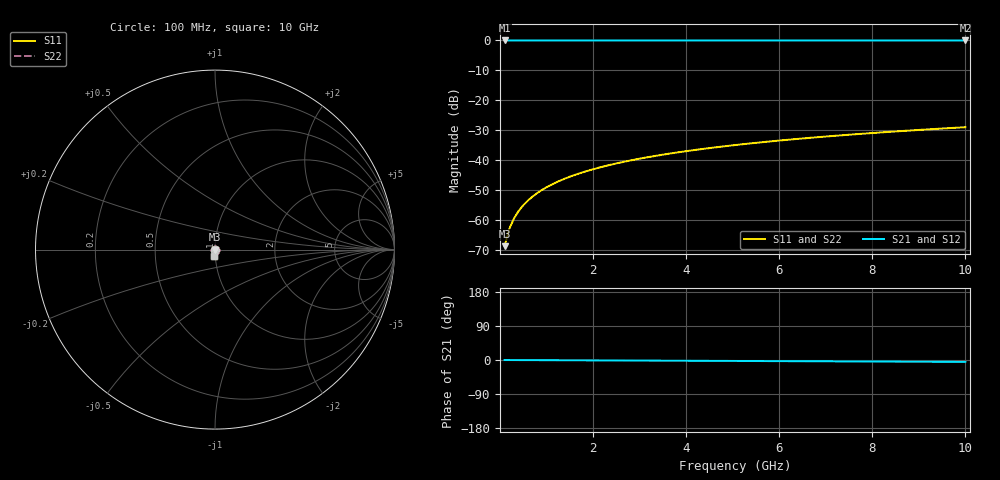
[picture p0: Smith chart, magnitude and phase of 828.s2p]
# Hz S RI R 50.00
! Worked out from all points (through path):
!   100 points, 100 MHz to 10 GHz, reference 50 ohm
!   highest |S21| = 0.00 dB at 100 MHz (marker M1); lowest = 0.0 dB at 10 GHz (marker M2)
!   lowest |S11| = -68.7 dB at 100 MHz (marker M3), VSWR 1.00, Z = 50 - j0.0352 ohm
!   |S11| at or under -10 dB: start of sweep to end of sweep
!   |S22| runs from -68.7 to -29.0 dB; largest |S21 - S12| = 0
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1e8  9.97e-05 -0.000352  0.9999 -0.000867  0.9999 -0.000867  9.97e-05 -0.000352
2e8  9.89e-05 -0.000704  0.9999 -0.00173  0.9999 -0.00173  9.89e-05 -0.000704
3e8  9.73e-05 -0.00106  0.9999 -0.0026  0.9999 -0.0026  9.73e-05 -0.00106
4e8  9.5e-05 -0.00141  0.9999 -0.00347  0.9999 -0.00347  9.5e-05 -0.00141
5e8  9.2e-05 -0.00176  0.9999 -0.00433  0.9999 -0.00433  9.2e-05 -0.00176
6e8  8.84e-05 -0.00211  0.9999 -0.0052  0.9999 -0.0052  8.84e-05 -0.00211
7e8  8.42e-05 -0.00247  0.9999 -0.00607  0.9999 -0.00607  8.42e-05 -0.00247
8e8  7.93e-05 -0.00282  0.9999 -0.00694  0.9999 -0.00694  7.93e-05 -0.00282
9e8  7.37e-05 -0.00317  0.9999 -0.0078  0.9999 -0.0078  7.37e-05 -0.00317
1.1e9  6.08e-05 -0.00387  0.9998 -0.00954  0.9998 -0.00954  6.08e-05 -0.00387
1.4e9  3.68e-05 -0.00493  0.9998 -0.0121  0.9998 -0.0121  3.68e-05 -0.00493
1.8e9  -4.01e-06 -0.00634  0.9997 -0.0156  0.9997 -0.0156  -4.01e-06 -0.00634
2.1e9  -4.11e-05 -0.0074  0.9997 -0.0182  0.9997 -0.0182  -4.11e-05 -0.0074
2.5e9  -9.92e-05 -0.00882  0.9996 -0.0217  0.9996 -0.0217  -9.92e-05 -0.00882
2.9e9  -0.000167 -0.0102  0.9995 -0.0252  0.9995 -0.0252  -0.000167 -0.0102
3.4e9  -0.000266 -0.012  0.9994 -0.0295  0.9994 -0.0295  -0.000266 -0.012
4.2e9  -0.000457 -0.0148  0.9991 -0.0365  0.9991 -0.0365  -0.000457 -0.0148
5.1e9  -0.00072 -0.018  0.9987 -0.0444  0.9987 -0.0444  -0.00072 -0.018
5.9e9  -0.000997 -0.0209  0.9983 -0.0514  0.9983 -0.0514  -0.000997 -0.0209
6.7e9  -0.00131 -0.0237  0.9979 -0.0584  0.9979 -0.0584  -0.00131 -0.0237
8.4e9  -0.00212 -0.0298  0.9967 -0.0733  0.9967 -0.0733  -0.00212 -0.0298
1e10  -0.00305 -0.0354  0.9954 -0.0874  0.9954 -0.0874  -0.00305 -0.0354
